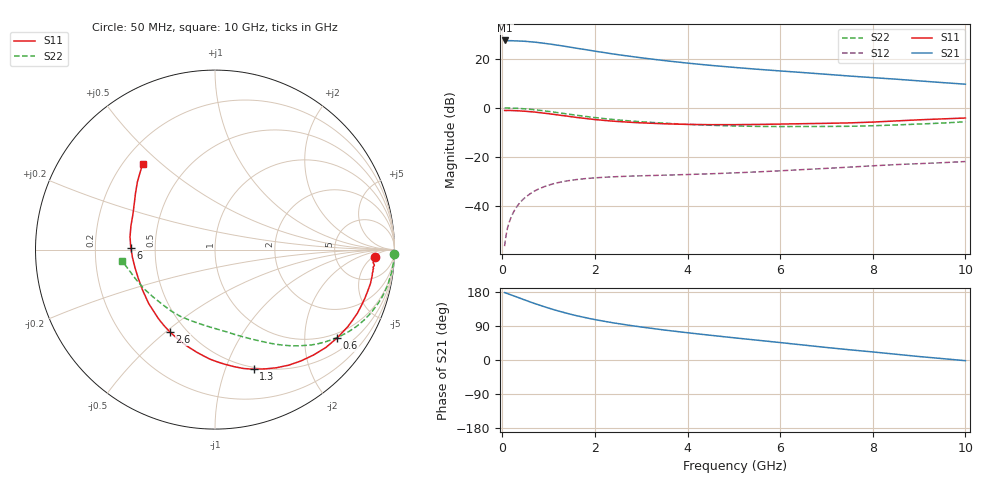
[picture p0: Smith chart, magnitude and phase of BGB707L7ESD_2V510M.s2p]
! (c) 2009  Infineon Technologies AG, Munich
!  Infineon Technologies AG
!  BGB707L7ESD RU919007 w#7 Sample Build #08493 Teil Nr. 3
!  Vce = 2.5V, Ic = 10.0mA
!  DATUM: 30.06.2009 10:17:01
# GHz  S  MA  R  50
!f  S11  S21  S12  S22
!GHz  Mag  Ang  Mag  Ang  Mag  Ang  Mag  Ang
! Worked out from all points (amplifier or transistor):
!   52 points, 50 MHz to 10 GHz, reference 50 ohm
!   highest |S21| = 27.5 dB at 60 MHz (marker M1)
!   |S21| within 3 dB of that: start of sweep to 1.554 GHz
!   unconditionally stable (mu >= 1): 5.318 GHz to 9.604 GHz
!   at 130 MHz: K = 0.00, MSG = 37.5 dB, |S12| = -47.7 dB
!   at 1.4 GHz: K = 0.27, MSG = 27.3 dB, |S12| = -29.7 dB
!   at 10 GHz: K = 0.96, MSG = 15.7 dB, |S12| = -21.8 dB
!   lowest NFmin = 0.55 dB at 100 MHz
!   S11 on the Smith chart (normalised r, x): 50 MHz: 15, -6; 600 MHz: 0.86, -2.86; 1.3 GHz: 0.48, -1.26; 2.6 GHz: 0.41, -0.52; 6 GHz: 0.36, +0.01; 10 GHz: 0.28, +0.43
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0.05  0.89 -2.8  23.16 177.9  0.001543 87.5  0.9963 -1.6
0.06  0.8936 -3.9  23.59 177.4  0.001864 92.4  0.9972 -2.0
0.08  0.8839 -4.7  23.2 176.4  0.002469 88.2  0.9976 -2.9
0.2  0.8865 -12.4  23.34 171.4  0.006314 83.8  0.9915 -7.5
0.35  0.8726 -21.3  23.03 164.6  0.01091 78.4  0.9775 -13.1
0.6  0.8399 -35.9  22.21 153.3  0.01792 70.1  0.9385 -22.0
0.7  0.8238 -41.5  21.81 148.9  0.02049 67.1  0.9185 -25.3
0.9  0.7838 -52.3  20.66 140.9  0.02493 61.4  0.8736 -31.6
1.1  0.742 -62.5  19.51 133.3  0.02865 56.4  0.8257 -37.3
1.3  0.7003 -72.1  18.27 126.4  0.03161 52.1  0.7784 -42.3
1.6  0.6416 -85.0  16.42 117.0  0.03489 46.9  0.7118 -48.9
1.8  0.6105 -92.8  15.34 111.7  0.03656 44.1  0.6726 -52.7
2.2  0.5578 -106.8  13.38 102.2  0.03886 40.0  0.6076 -59.3
2.6  0.5228 -118.8  11.76 94.2  0.04049 37.6  0.559 -64.9
3  0.4971 -129.4  10.48 87.1  0.04165 36.4  0.5229 -70.1
3.5  0.4764 -140.8  9.184 79.1  0.04292 35.8  0.4896 -76.1
4.5  0.4566 -159.3  7.346 65.2  0.04581 37.1  0.4445 -87.9
5.5  0.4619 -174.5  6.13 52.3  0.04998 39.3  0.4216 -101.9
6  0.4694 178.8  5.66 46.0  0.05266 40.4  0.4179 -109.4
7  0.4866 164.3  4.835 33.1  0.05904 41.3  0.4207 -125.9
8.5  0.5441 144.4  3.848 15.2  0.0704 40.3  0.4511 -150.8
10  0.6239 130.3  3.041 -1.8  0.08125 37.8  0.5231 -173.3
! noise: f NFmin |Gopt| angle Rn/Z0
0.1  0.55  0.46  2  0.18
0.45  0.69  0.46  4  0.18
0.9  0.73  0.47  12  0.18
1.8  0.75  0.4  33  0.17
5  0.97  0.31  70  0.16
10  1.48  0.39  -123  0.14
